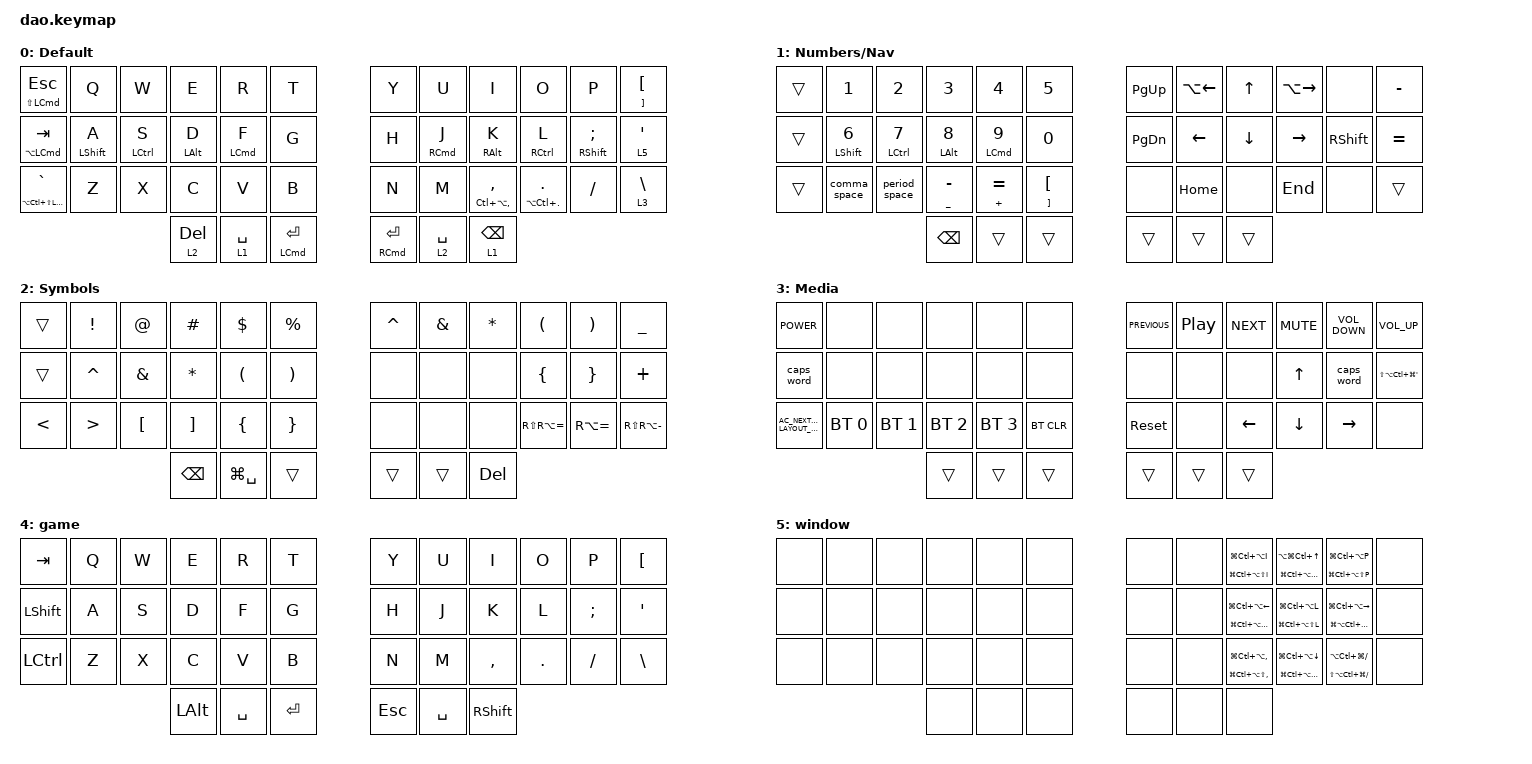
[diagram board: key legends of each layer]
/*
 * SPDX-License-Identifier: MIT
 */

#include <behaviors.dtsi>
#include <dt-bindings/zmk/keys.h>
#include <dt-bindings/zmk/bt.h>

#define DEF 0
#define LWR 1
#define RSE 2
#define ADJ 3

&lt { quick_tap_ms = <200>; };
&mt {
    quick_tap_ms = <200>;
    flavor = "balanced";
};

/ {
    chosen {
        zmk,matrix_transform = &default_transform;
        // zmk,matrix_transform = &extra_keys_transform;
    };

    combos {
        compatible = "zmk,combos";

        spc {
            bindings = <&kp SPACE>;
            key-positions = <29 28>;
            layers = <0>;
        };

        harden_sign {
            bindings = <&kp RBKT>;
            key-positions = <31 32>;
            layers = <0>;
        };

        comma {
            bindings = <&comma_space>;
            key-positions = <25 26>;
            layers = <0>;
        };

        period {
            bindings = <&period_space>;
            key-positions = <26 27>;
            layers = <0>;
        };

        t_game {
            bindings = <&tog 4>;
            key-positions = <17 35>;
            layers = <0 4>;
        };

        fn {
            bindings = <&kp C_AC_NEXT_KEYBOARD_LAYOUT_SELECT>;
            key-positions = <24 25>;
            layers = <0>;
        };

        lang {
            bindings = <&cmd_spc>;
            key-positions = <17 16>;
            layers = <0>;
        };
    };

    macros {
        comma_space: comma_space {
            compatible = "zmk,behavior-macro";
            #binding-cells = <0>;
            bindings = <&kp LA(LC(COMMA)) &kp SPACE>;
            label = "COMMA_SPACE";
        };

        cmd_spc: cmd_spc {
            compatible = "zmk,behavior-macro";
            #binding-cells = <0>;
            bindings = <&kp LG(SPACE)>;
            label = "CMD_SPC";
        };

        period_space: period_space {
            compatible = "zmk,behavior-macro";
            #binding-cells = <0>;
            bindings = <&kp LC(LA(PERIOD)) &kp SPACE>;
            label = "PERIOD_SPACE";
        };
    };

    behaviors {
    };

    keymap {
        compatible = "zmk,keymap";

        default_layer {

            bindings = <
&mt LS(LCMD) ESC            &kp Q         &kp W        &kp E       &kp R        &kp T             &kp Y           &kp U        &kp I                    &kp O                      &kp P            &mt RBKT LBKT
&mt LA(LCMD) TAB            &mt LSHIFT A  &mt LCTRL S  &mt LALT D  &mt LCMD F   &kp G             &kp H           &mt RCMD J   &mt RALT K               &mt RCTRL L                &mt RSHIFT SEMI  &lt 5 APOS
&mt LA(LC(LS(LCMD))) GRAVE  &kp Z         &kp X        &kp C       &kp V        &kp B             &kp N           &kp M        &mt LC(LA(COMMA)) COMMA  &mt LA(LC(PERIOD)) PERIOD  &kp SLASH        &lt 3 BACKSLASH
                                                       &lt 2 DEL   &lt 1 SPACE  &mt LCMD ENTER    &mt RCMD ENTER  &lt 2 SPACE  &lt 1 BACKSPACE
            >;

            label = "Default";
        };

        num_layer {
            bindings = <
&trans  &kp N1               &kp N2         &kp N3           &kp N4             &kp N5                            &kp PG_UP  &kp LA(LEFT)  &kp UP    &kp LA(RIGHT)  &none            &kp MINUS
&trans  &mt LSHIFT NUMBER_6  &mt LCTRL N7   &mt LALT N8      &mt LCMD NUMBER_9  &kp N0                            &kp PG_DN  &kp LEFT      &kp DOWN  &kp RIGHT      &kp RIGHT_SHIFT  &kp EQUAL
&trans  &comma_space         &period_space  &mt UNDER MINUS  &mt PLUS EQUAL     &mt RIGHT_BRACKET LEFT_BRACKET    &none      &kp HOME      &none     &kp END        &none            &trans
                                            &kp BACKSPACE    &trans             &trans                            &trans     &trans        &trans
            >;

            label = "Numbers/Nav";
        };

        symb_layer {

            bindings = <
&trans  &kp EXCL   &kp AT    &kp HASH       &kp DLLR              &kp PRCNT                &kp CARET  &kp AMPS  &kp ASTERISK  &kp LPAR           &kp RPAR       &kp UNDER
&trans  &kp CARET  &kp AMPS  &kp ASTRK      &kp LEFT_PARENTHESIS  &kp RIGHT_PARENTHESIS    &none      &none     &none         &kp LBRC           &kp RBRC       &kp PLUS
&kp LT  &kp GT     &kp LBKT  &kp RBKT       &kp LEFT_BRACE        &kp RIGHT_BRACE          &none      &none     &none         &kp RS(RA(EQUAL))  &kp RA(EQUAL)  &kp RS(RA(MINUS))
                             &kp BACKSPACE  &kp LG(SPACE)         &trans                   &trans     &trans    &kp DELETE
            >;

            label = "Symbols";
        };

        media_layer {

            bindings = <
&kp C_POWER                           &none         &none         &none         &none         &none         &kp C_PREVIOUS  &kp C_PLAY_PAUSE  &kp C_NEXT  &kp K_MUTE  &kp C_VOLUME_DOWN  &kp C_VOL_UP
&caps_word                            &none         &none         &none         &none         &none         &none           &none             &none       &kp UP      &caps_word         &kp LS(LA(LC(LG(SQT))))
&kp C_AC_NEXT_KEYBOARD_LAYOUT_SELECT  &bt BT_SEL 0  &bt BT_SEL 1  &bt BT_SEL 2  &bt BT_SEL 3  &bt BT_CLR    &sys_reset      &none             &kp LEFT    &kp DOWN    &kp RIGHT          &none
                                                                  &trans        &trans        &trans        &trans          &trans            &trans
            >;

            label = "Media";
        };

        game {
            bindings = <
&kp TAB    &kp Q  &kp W  &kp E     &kp R      &kp T      &kp Y    &kp U      &kp I      &kp O    &kp P     &kp LBKT
&kp LSHFT  &kp A  &kp S  &kp D     &kp F      &kp G      &kp H    &kp J      &kp K      &kp L    &kp SEMI  &kp SQT
&kp LCTRL  &kp Z  &kp X  &kp C     &kp V      &kp B      &kp N    &kp M      &kp COMMA  &kp DOT  &kp FSLH  &kp BSLH
                         &kp LALT  &kp SPACE  &kp RET    &kp ESC  &kp SPACE  &kp RSHFT
            >;
        };

        window {
            bindings = <
&none  &none  &none  &none  &none  &none    &none  &none  &mt LG(LC(LA(LS(I)))) LG(LC(LA(I)))          &mt LG(LC(LA(LS(UP)))) LA(LG(LC(UP)))      &mt LG(LC(LA(LS(P)))) LG(LC(LA(P)))          &none
&none  &none  &none  &none  &none  &none    &none  &none  &mt LG(LC(LA(LS(LEFT)))) LG(LC(LA(LEFT)))    &mt LG(LC(LA(LS(L)))) LG(LC(LA(L)))        &mt LG(LA(LC(LS(RIGHT)))) LG(LC(LA(RIGHT)))  &none
&none  &none  &none  &none  &none  &none    &none  &none  &mt LG(LC(LA(LS(COMMA)))) LG(LC(LA(COMMA)))  &mt LG(LC(LA(LS(DOWN)))) LG(LC(LA(DOWN)))  &mt LS(LA(LC(LG(SLASH)))) LA(LC(LG(SLASH)))  &none
                     &none  &none  &none    &none  &none  &none
            >;
        };
    };

    conditional_layers {
        compatible = "zmk,conditional-layers";
    };
};
